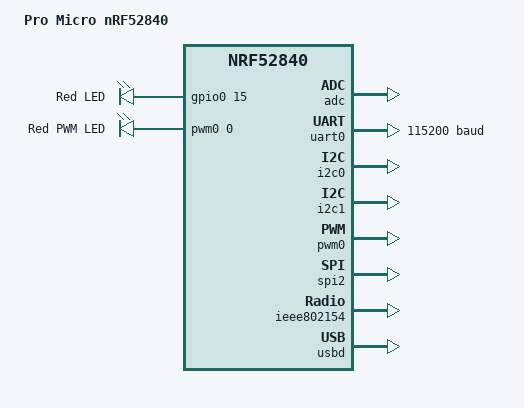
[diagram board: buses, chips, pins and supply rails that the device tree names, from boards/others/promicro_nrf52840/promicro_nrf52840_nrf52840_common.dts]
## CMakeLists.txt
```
cmake_minimum_required(VERSION 3.20.0)

# The USB devicetree nodes (serial port + five HID interfaces) are the same on every board, so they
# live in one overlay that is added whatever the board.
list(APPEND EXTRA_DTC_OVERLAY_FILE ${CMAKE_CURRENT_LIST_DIR}/usb.overlay)

find_package(Zephyr REQUIRED HINTS $ENV{ZEPHYR_BASE})
project(counterpuck LANGUAGES C)

target_include_directories(app PRIVATE src)
target_sources(app PRIVATE
	src/main.c
	src/identity.c
	src/usb.c
	src/hid_desc.c
	src/commands.c
	src/radio.c
	src/slot.c
	src/channels.c
	src/combiner.c
	src/bonds.c
	src/shell.c)
```

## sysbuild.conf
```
# The Partition Manager (the NCS default for nRF chips) would ignore the board's flash partitions:
# the app would not land at the UF2 bootloader's app address and the settings storage would end up
# inside the bootloader. Use the devicetree partitions.
SB_CONFIG_PARTITION_MANAGER=n
```

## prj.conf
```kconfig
# Counterpuck: an open firmware that behaves like a Steam Controller 2 puck on an nRF52840 board.
# Settings you may want to change (serials, USB strings, build time) are in src/puck_config.h.

# --- kernel ---
CONFIG_MAIN_STACK_SIZE=4096
CONFIG_HEAP_MEM_POOL_SIZE=2048
CONFIG_SYSTEM_WORKQUEUE_STACK_SIZE=2048
CONFIG_EVENTS=y
CONFIG_HWINFO=y
CONFIG_REBOOT=y
CONFIG_ENTROPY_GENERATOR=y
CONFIG_GPIO=y

# The board has no 32.768 kHz crystal: use the internal RC oscillator, calibrated against the
# on-chip temperature sensor.
CONFIG_CLOCK_CONTROL_NRF_K32SRC_RC=y
CONFIG_CLOCK_CONTROL_NRF_K32SRC_RC_CALIBRATION=y

# --- USB: Zephyr's own device stack, one serial port + five HID interfaces ---
CONFIG_USB_DEVICE_STACK_NEXT=y
CONFIG_USBD_HID_SUPPORT=y
# Up to 8 input reports per interface can be on their way to the host at once.
CONFIG_USBD_HID_IN_BUF_COUNT=8
CONFIG_USBD_CDC_ACM_CLASS=y
# The serial port carries the shell, so the USB stack must not log every transfer into it.
CONFIG_USBD_LOG_LEVEL_WRN=y
CONFIG_UDC_DRIVER_LOG_LEVEL_WRN=y
CONFIG_USBD_HID_LOG_LEVEL_WRN=y
CONFIG_USBD_CDC_ACM_LOG_LEVEL_OFF=y
CONFIG_UDC_BUF_POOL_SIZE=4096
# Vendor commands that store a pairing run in the USB thread, together with the flash driver.
CONFIG_USBD_THREAD_STACK_SIZE=2048

# --- shell and logging on the USB serial port ---
CONFIG_LOG=y
CONFIG_LOG_MODE_DEFERRED=y
CONFIG_LOG_BUFFER_SIZE=4096
CONFIG_SHELL=y
CONFIG_SHELL_BACKEND_SERIAL=y
CONFIG_SHELL_LOG_BACKEND=y
CONFIG_SHELL_PROMPT_UART="dongle~$ "
CONFIG_SHELL_STACK_SIZE=2048
CONFIG_SERIAL=y
CONFIG_UART_INTERRUPT_DRIVEN=y

# --- radio: Nordic's Enhanced ShockBurst ---
CONFIG_ESB=y
CONFIG_ESB_MAX_PAYLOAD_LENGTH=128
CONFIG_ESB_TX_FIFO_SIZE=2
CONFIG_ESB_RX_FIFO_SIZE=2

# --- pairing records in flash ---
CONFIG_FLASH=y
CONFIG_FLASH_MAP=y
CONFIG_NVS=y
CONFIG_SETTINGS=y
CONFIG_SETTINGS_NVS=y
```

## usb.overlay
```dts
/* The USB device: one serial port (the shell) followed by five HID interfaces. Windows and Steam
 * find the puck's interfaces by this order, so keep it: the class instances are registered sorted by
 * name, which follows the order of these nodes. Slots 0 to 3 are hid_0 to hid_3, the dock is hid_4.
 * Each HID interface has an interrupt IN and an interrupt OUT endpoint of 64 bytes. The slots poll
 * every 2 ms, the dock every 32 ms. */
/ {
	chosen {
		zephyr,shell-uart = &cdc_acm_uart0;
	};

	hid_0: hid_0 {
		compatible = "zephyr,hid-device";
		protocol-code = "none";
		in-polling-period-us = <2000>;
		in-report-size = <64>;
		out-polling-period-us = <2000>;
		out-report-size = <64>;
	};
	hid_1: hid_1 {
		compatible = "zephyr,hid-device";
		protocol-code = "none";
		in-polling-period-us = <2000>;
		in-report-size = <64>;
		out-polling-period-us = <2000>;
		out-report-size = <64>;
	};
	hid_2: hid_2 {
		compatible = "zephyr,hid-device";
		protocol-code = "none";
		in-polling-period-us = <2000>;
		in-report-size = <64>;
		out-polling-period-us = <2000>;
		out-report-size = <64>;
	};
	hid_3: hid_3 {
		compatible = "zephyr,hid-device";
		protocol-code = "none";
		in-polling-period-us = <2000>;
		in-report-size = <64>;
		out-polling-period-us = <2000>;
		out-report-size = <64>;
	};
	hid_4: hid_4 {
		compatible = "zephyr,hid-device";
		protocol-code = "none";
		in-polling-period-us = <32000>;
		in-report-size = <64>;
		out-polling-period-us = <32000>;
		out-report-size = <64>;
	};
};

&zephyr_udc0 {
	cdc_acm_uart0: cdc_acm_uart0 {
		compatible = "zephyr,cdc-acm-uart";
	};
};
```

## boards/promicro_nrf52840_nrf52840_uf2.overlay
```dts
/* SuperMini / Pro Micro nRF52840 with the Adafruit UF2 bootloader. Settings (pairings) go to the
 * board's storage partition, just below the bootloader. The board's own UART is not used here: the
 * shell is on the USB serial port. */
&uart0 {
	status = "disabled";
};
```

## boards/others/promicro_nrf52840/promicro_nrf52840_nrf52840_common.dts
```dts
/*
 * Copyright (c) 2024 MASSDRIVER EI (massdriver.space)
 * Copyright (c) 2018-2023 Nordic Semiconductor ASA
 * Copyright (c) 2017 Linaro Limited
 *
 * SPDX-License-Identifier: Apache-2.0
 */

/dts-v1/;
#include <nordic/nrf52840_qiaa.dtsi>
#include "promicro_nrf52840-pinctrl.dtsi"
#include <zephyr/dt-bindings/input/input-event-codes.h>

/ {
	model = "Pro Micro nRF52840";
	compatible = "others,promicro-nrf52840";

	chosen {
		zephyr,sram = &sram0;
		zephyr,flash = &flash0;
		zephyr,ieee802154 = &ieee802154;
	};

	leds {
		compatible = "gpio-leds";
		led0: led_0 {
			gpios = <&gpio0 15 GPIO_ACTIVE_HIGH>;
			label = "Red LED";
		};
	};

	pwmleds {
		compatible = "pwm-leds";
		red_pwm_led: led_pwm_0 {
			pwms = <&pwm0 0 PWM_MSEC(20) PWM_POLARITY_INVERTED>;
			label = "Red PWM LED";
		};
	};

	aliases {
		led0 = &led0;
		pwm-led0 = &red_pwm_led;
		red-pwm-led = &red_pwm_led;
		bootloader-led0 = &led0;
		mcuboot-led0 = &led0;
		spi = &spi2;
		watchdog0 = &wdt0;
	};
};

&adc {
	status = "okay";
};

&gpiote {
	status = "okay";
};

&uicr {
	nfct-pins-as-gpios;
	gpio-as-nreset;
};

&gpio0 {
	status = "okay";
};

&gpio1 {
	status = "okay";
};

&uart0 {
	compatible = "nordic,nrf-uarte";
	status = "okay";
	current-speed = <115200>;
	pinctrl-0 = <&uart0_default>;
	pinctrl-1 = <&uart0_sleep>;
	pinctrl-names = "default", "sleep";
};

&i2c0 {
	compatible = "nordic,nrf-twi";
	status = "okay";
	pinctrl-0 = <&i2c0_default>;
	pinctrl-1 = <&i2c0_sleep>;
	pinctrl-names = "default", "sleep";
};

&i2c1 {
	compatible = "nordic,nrf-twi";
	status = "okay";
	pinctrl-0 = <&i2c1_default>;
	pinctrl-1 = <&i2c1_sleep>;
	pinctrl-names = "default", "sleep";
};

&pwm0 {
	status = "okay";
	pinctrl-0 = <&pwm0_default>;
	pinctrl-1 = <&pwm0_sleep>;
	pinctrl-names = "default", "sleep";
};


&spi2 {
	compatible = "nordic,nrf-spi";
	status = "okay";
	pinctrl-0 = <&spi2_default>;
	pinctrl-1 = <&spi2_sleep>;
	pinctrl-names = "default", "sleep";
};

&ieee802154 {
	status = "okay";
};

zephyr_udc0: &usbd {
	status = "okay";
};
```

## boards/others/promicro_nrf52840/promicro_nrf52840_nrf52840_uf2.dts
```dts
/*
 * Copyright (c) 2024 MASSDRIVER EI (massdriver.space)
 *
 * SPDX-License-Identifier: Apache-2.0
 */

/dts-v1/;
#include "promicro_nrf52840_nrf52840_common.dts"
#include "nrf52840_partition_uf2_sdv6.dtsi"
```

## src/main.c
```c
/* main.c: start-up order. MIT licence. */
#include <zephyr/kernel.h>
#include <zephyr/logging/log.h>
#include <zephyr/settings/settings.h>
#include "bonds.h"
#include "channels.h"
#include "identity.h"
#include "radio.h"
#include "slot.h"
#include "usb.h"

LOG_MODULE_REGISTER(main, LOG_LEVEL_INF);

int main(void)
{
	int err;

	identity_init();
	err = settings_subsys_init();
	if (err) {
		LOG_ERR("The settings store failed to start (%d): pairings will not be kept", err);
	} else {
		bonds_load();
	}

	/* The slots must exist before the USB device is enabled: the host's first requests already
	 * reach them. */
	slots_init();
	channels_init();
	err = usb_start();
	if (err) {
		return err;
	}
	LOG_INF("USB started");
	err = radio_start();
	if (err) {
		return err;
	}
	LOG_INF("Radio started");
	channels_start_scan();

	LOG_INF("Starting Counterpuck %s, build time 0x%08X", identity_revision(),
		identity_build_time());
	slots_start();
	return 0;
}
```

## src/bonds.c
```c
/* bonds.c: pairing records in the settings store, keys "puck/bond0" to "puck/bond3". MIT licence. */
#include <errno.h>
#include <stdio.h>
#include <string.h>
#include <zephyr/kernel.h>
#include <zephyr/settings/settings.h>
#include "bonds.h"
#include "radio.h"
#include <zephyr/logging/log.h>
#include "usb.h"

LOG_MODULE_REGISTER(bonds, LOG_LEVEL_INF);

static struct bond records[NUM_SLOTS];

bool bond_valid(const struct bond *b)
{
	return b->puck_id != 0 && b->controller_id != 0;
}

const struct bond *bond_get(int slot) { return &records[slot]; }

static int on_setting(const char *key, size_t len, settings_read_cb read_cb, void *cb_arg)
{
	const char *next;

	for (int i = 0; i < NUM_SLOTS; i++) {
		char name[8];

		snprintf(name, sizeof(name), "bond%d", i);
		if (settings_name_steq(key, name, &next) && !next) {
			if (len != sizeof(struct bond)) {
				return -EINVAL;
			}
			ssize_t n = read_cb(cb_arg, &records[i], sizeof(struct bond));

			return n < 0 ? (int)n : 0;
		}
	}
	return -ENOENT;
}
SETTINGS_STATIC_HANDLER_DEFINE(puck_bonds, "puck", NULL, on_setting, NULL, NULL);

int bonds_load(void)
{
	return settings_load_subtree("puck");
}

int bond_set(int slot, const struct bond *b)
{
	char key[16];
	int err;

	snprintf(key, sizeof(key), "puck/bond%d", slot);
	/* The record in memory is what counts for this session; the flash copy keeps it across reboots. */
	radio_hold();   /* a flash write stalls the CPU: no radio transaction may be in flight */
	if (!bond_valid(b)) {
		memset(&records[slot], 0, sizeof(records[slot]));
		err = settings_delete(key);
	} else {
		records[slot] = *b;
		err = settings_save_one(key, b, sizeof(*b));
	}
	radio_release();
	if (err) {
		LOG_ERR("Storing the pairing of slot %d failed (%d): it is lost when the puck restarts",
			slot, err);
	}
	return err;
}

int bonds_clear_all(void)
{
	struct bond none = { 0 };
	int err = 0;

	for (int i = 0; i < NUM_SLOTS; i++) {
		err |= bond_set(i, &none);
	}
	return err;
}
```

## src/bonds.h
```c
/* bonds.h: the pairing record of each slot, kept in flash. MIT licence. */
#pragma once
#include <stdbool.h>
#include <stdint.h>

/* 24 bytes; also the format vendor commands 0xA3 and 0xA2 read and write. */
struct bond {
	uint32_t puck_id;       /* random, chosen when pairing */
	uint32_t controller_id;
	char controller_serial[16];
} __packed;

/* A pairing exists when both IDs are non-zero. */
bool bond_valid(const struct bond *b);

/* Read the records from flash into memory. */
int bonds_load(void);
const struct bond *bond_get(int slot);
/* Store a record, or delete it when either ID is zero. */
int bond_set(int slot, const struct bond *b);
int bonds_clear_all(void);
```

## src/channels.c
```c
/* channels.c: channel choice from per-channel error rates and a background noise scan. MIT licence. */
#include <stdlib.h>
#include <string.h>
#include <zephyr/kernel.h>
#include "channels.h"
#include "radio.h"
#include "usb.h"

#define FIRST_CHANNEL 4
#define LAST_CHANNEL  80
#define N_CHANNELS    (LAST_CHANNEL + 1)

#define WEIGHT_ERROR_RATE 1000
#define WEIGHT_DISTANCE   1000
#define WEIGHT_NOISE      500

#define SCAN_PERIOD_MS    128
#define SCAN_SAMPLES      10

struct chan {
	int ok, bad;
	int rate_permille;   /* bad / (ok + bad), 0..1000 */
};

static struct chan map[NUM_SLOTS][N_CHANNELS];

/* Background noise per channel, in 16.16 fixed point, as positive dB below 0 dBm (bigger = quieter):
 * a slow average, and a peak that jumps to a louder reading at once and drifts back slowly. */
static struct { uint32_t average, peak; } noise[N_CHANNELS];
static uint8_t quietest;     /* the quietest average seen over all channels */
static bool noise_known;
static K_MUTEX_DEFINE(map_lock);

static void recompute(struct chan *c)
{
	c->rate_permille = (c->ok + c->bad) ? (int)((int64_t)c->bad * 1000 / (c->ok + c->bad)) : 1000;
}

void channels_set(int slot, uint8_t channel, int ok, int bad)
{
	if (channel >= N_CHANNELS) {
		return;
	}
	k_mutex_lock(&map_lock, K_FOREVER);
	map[slot][channel].ok = ok;
	map[slot][channel].bad = bad;
	recompute(&map[slot][channel]);
	k_mutex_unlock(&map_lock);
}

void channels_add(int slot, uint8_t channel, int ok, int bad)
{
	if (channel >= N_CHANNELS) {
		return;
	}
	k_mutex_lock(&map_lock, K_FOREVER);
	map[slot][channel].ok += ok;
	map[slot][channel].bad += bad;
	recompute(&map[slot][channel]);
	k_mutex_unlock(&map_lock);
}

/* Penalty for a channel that is `d` dB noisier than the quietest. A curve that starts gently and
 * steepens to a straight line, measured against the reference behaviour at every tenth dB and
 * joined by straight lines: 0 at 0 dB, 31 at 10, 89 at 20, 164 at 30, 252 at 40, 353 at 50,
 * 464 at 60, 585 at 70, 715 at 80, 853 at 90, 1000 at 100 and 1137 at 109. */
static int noise_penalty(int d)
{
	static const int at_tens[] = { 0, 31, 89, 164, 252, 353, 464, 585, 715, 853, 1000 };

	d = CLAMP(d, 0, 109);
	if (d >= 100) {
		return 1000 + (d - 100) * 137 / 9;
	}
	return at_tens[d / 10] + (at_tens[d / 10 + 1] - at_tens[d / 10]) * (d % 10) / 10;
}

uint8_t channels_pick(int slot, uint8_t current)
{
	uint8_t best = FIRST_CHANNEL;
	uint32_t best_score = UINT32_MAX;

	k_mutex_lock(&map_lock, K_FOREVER);
	for (int ch = FIRST_CHANNEL; ch <= LAST_CHANNEL; ch += 2) {
		uint32_t score;
		int distance = abs(ch - current);

		if (ch == LAST_CHANNEL || ch == current) {
			continue;
		}
		score = WEIGHT_ERROR_RATE * MIN(map[slot][ch].rate_permille / 10, 100);
		score += WEIGHT_NOISE * noise_penalty(MAX((int)quietest - (int)(noise[ch].average >> 16), 0));
		if (distance <= 16) {
			score += WEIGHT_DISTANCE * (17 - distance);
		}
		if (score <= best_score) {   /* ties go to the higher channel */
			best_score = score;
			best = ch;
		}
	}
	k_mutex_unlock(&map_lock);
	return best;
}

uint8_t channels_error_percent(int slot, uint8_t channel)
{
	if (channel >= N_CHANNELS) {
		return 0xFF;
	}
	return MIN(map[slot][channel].rate_permille / 10, 100);
}

uint8_t channels_noise(uint8_t channel) { return channel < N_CHANNELS ? (noise[channel].average >> 16) & 0xFF : 0; }
uint8_t channels_noise_peak(uint8_t channel) { return channel < N_CHANNELS ? (noise[channel].peak >> 16) & 0xFF : 0; }

/* A bad experience on a channel is slowly forgiven: every minute all error rates shrink by 10 %. */
static void decay(struct k_timer *t)
{
	for (int s = 0; s < NUM_SLOTS; s++) {
		for (int ch = FIRST_CHANNEL; ch <= LAST_CHANNEL; ch += 2) {
			/* the stored rate shrinks; the counters are left alone, and the next update of this
			 * channel works the rate out from them again */
			map[s][ch].rate_permille = map[s][ch].rate_permille * 9 / 10;
		}
	}
}
static K_TIMER_DEFINE(decay_timer, decay, NULL);

/* One sweep: the strongest of ten readings on every channel, folded into the averages. */
static void scan_once(void)
{
	uint8_t samples[SCAN_SAMPLES];
	uint32_t best = 0;

	for (int ch = FIRST_CHANNEL; ch <= LAST_CHANNEL; ch += 2) {
		uint32_t strongest = 0xFF;

		radio_sample_rssi(ch, samples, SCAN_SAMPLES);
		for (int i = 0; i < SCAN_SAMPLES; i++) {
			strongest = MIN(strongest, samples[i]);   /* smaller = louder */
		}
		uint32_t v = strongest << 16;

		if (!noise_known) {
			noise[ch].average = noise[ch].peak = v;
		} else {
			noise[ch].average = (noise[ch].average * 63 + v) >> 6;
			noise[ch].peak = (noise[ch].peak <= v) ? (noise[ch].peak * 63 + v) >> 6 : v;
		}
		best = MAX(best, noise[ch].average);
	}
	quietest = best >> 16;
	noise_known = true;
}

static void scan_thread(void *a, void *b, void *c)
{
	for (;;) {
		scan_once();
		k_msleep(SCAN_PERIOD_MS);
	}
}
K_THREAD_DEFINE(noise_scan, 1536, scan_thread, NULL, NULL, NULL, 10, 0, -1);

void channels_init(void)
{
	memset(map, 0, sizeof(map));
	k_timer_start(&decay_timer, K_SECONDS(60), K_SECONDS(60));
}

/* Called once the radio runs: one sweep first so the first channel choice already knows the noise,
 * then the scan keeps going. */
void channels_start_scan(void)
{
	scan_once();
	k_thread_start(noise_scan);
}
```

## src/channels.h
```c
/* channels.h: how the puck chooses radio channels. MIT licence.
 *
 * Data channels are the even channels 4 to 78 (channel n is 2400 + n MHz). Each slot keeps, per
 * channel, how many of its exchanges succeeded and failed. The lowest score wins:
 *   - the packet error rate on the channel, weighted 1000 per percent;
 *   - a penalty for channels close to the current one (so a switch moves away from interference),
 *     1000 x (17 - distance) for distances up to 16, none beyond;
 *   - how much noisier the channel is than the quietest one, from a background scan that visits
 *     every channel eight times a second, weighted 500;
 * the current channel and channel 80 are never chosen. Ties go to the higher channel. */
#pragma once
#include <stdint.h>

void channels_init(void);
void channels_start_scan(void);   /* after radio_start() */
/* Replace / add to a channel's counters of one slot. */
void channels_set(int slot, uint8_t channel, int ok, int bad);
void channels_add(int slot, uint8_t channel, int ok, int bad);
/* `current` is the channel in use, or 0xFF when there is none. */
uint8_t channels_pick(int slot, uint8_t current);
/* Statistics for the vendor command that lists them. */
uint8_t channels_error_percent(int slot, uint8_t channel);
uint8_t channels_noise(uint8_t channel);
uint8_t channels_noise_peak(uint8_t channel);
```

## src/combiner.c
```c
/* combiner.c: half-reports 0x60 / 0x61 -> report 0x45. MIT licence. */
#include <string.h>
#include <zephyr/kernel.h>
#include "combiner.h"
#include "hid_desc.h"
#include "slot.h"
#include "usb.h"

struct __packed half {
	uint8_t id;
	uint16_t buttons;
	uint8_t axis;
	int16_t v[8];
};

struct __packed report45 {
	uint8_t id;
	uint8_t seq;
	uint32_t buttons;
	int16_t axis_a;          /* from 0x60 */
	int16_t axis_b;          /* from 0x61 */
	int16_t a01[2];          /* 0x60 v[0..1] */
	int16_t b01[2];          /* 0x61 v[0..1] */
	int16_t unused[8];       /* never written */
	int16_t a27[6];          /* 0x60 v[2..7] */
};
BUILD_ASSERT(sizeof(struct half) == 20);
BUILD_ASSERT(sizeof(struct report45) == 46);

/* Which bit of the 32-bit button field each of a half's 12 button bits sets (docs/wire-formats.md). */
static const uint8_t map_60[12] = { 10, 11, 12, 13, 17, 19, 15, 27, 16, 14, 24, 29 };
static const uint8_t map_61[12] = { 0, 1, 2, 3, 7, 9, 5, 23, 4, 6, 20, 28 };

static struct report45 merged;          /* the one combined state */
static int64_t last_half_ms;
static bool serving[NUM_SLOTS];         /* this slot's controller sends half-reports */
static K_MUTEX_DEFINE(lock);

/* The lowest-numbered connected slot that sends half-reports, or -1. */
static int target(void)
{
	for (int i = 0; i < NUM_SLOTS; i++) {
		if (serving[i] && slot_connected(i)) {
			return i;
		}
	}
	return -1;
}

/* A byte widened to 15 bits: 0x00 -> 0, 0x80 -> 0x407F, 0xFF -> 0x7FFF. */
static int16_t widen(uint8_t v)
{
	return (int16_t)((v << 7) | ((v & 0x80) ? 0x7F : 0));
}

static uint32_t apply_buttons(uint32_t field, uint16_t src, const uint8_t *map)
{
	for (int i = 0; i < 12; i++) {
		field = (src & BIT(i)) ? (field | BIT(map[i])) : (field & ~BIT(map[i]));
	}
	return field;
}

/* Send the merged state to `slot` (caller holds the lock). */
static void send(int slot)
{
	uint8_t out[sizeof(struct report45)] __aligned(4);

	merged.seq++;
	memcpy(out, &merged, sizeof(out));
	(void)usb_submit_input(slot, out, sizeof(out));
}

static void make_neutral(void)
{
	/* everything but the ID and the sequence number cleared */
	uint8_t seq = merged.seq;

	memset(&merged, 0, sizeof(merged));
	merged.seq = seq;
	merged.id = RPT_COMBINED;
}

void combiner_half(int slot, const uint8_t *rec)
{
	struct half h;
	int to;

	memcpy(&h, rec, sizeof(h));
	k_mutex_lock(&lock, K_FOREVER);
	merged.id = RPT_COMBINED;
	if (h.id == 0x60) {
		merged.axis_a = widen(h.axis);
		memcpy(merged.a01, &h.v[0], 4);
		memcpy(merged.a27, &h.v[2], 12);
		merged.buttons = apply_buttons(merged.buttons, h.buttons, map_60);
	} else if (h.id == 0x61) {
		merged.axis_b = widen(h.axis);
		memcpy(merged.b01, &h.v[0], 4);
		merged.buttons = apply_buttons(merged.buttons, h.buttons, map_61);
	} else {
		k_mutex_unlock(&lock);
		return;
	}
	serving[slot] = true;
	last_half_ms = k_uptime_get();
	to = target();
	if (to >= 0) {
		send(to);
	}
	k_mutex_unlock(&lock);
}

void combiner_tick(int slot)
{
	int to;

	k_mutex_lock(&lock, K_FOREVER);
	/* Only the served slot's thread acts, so one second of silence gives one neutral report. */
	if (serving[slot] && target() == slot && k_uptime_get() - last_half_ms >= 1000) {
		make_neutral();
		last_half_ms = k_uptime_get();
		to = target();
		if (to >= 0) {
			send(to);
		}
	}
	k_mutex_unlock(&lock);
}

void combiner_release(int slot)
{
	k_mutex_lock(&lock, K_FOREVER);
	if (serving[slot]) {
		serving[slot] = false;
		/* The controller is gone: let go of everything it held, on its own interface. */
		make_neutral();
		send(slot);
		if (target() < 0) {
			memset(&merged, 0, sizeof(merged));   /* nobody left: start from nothing next time */
		}
	}
	k_mutex_unlock(&lock);
}
```

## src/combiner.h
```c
/* combiner.h: merges the controller's two half-reports (0x60, 0x61) into report 0x45.
 * The formats are in docs/wire-formats.md. MIT licence. */
#pragma once
#include <stdbool.h>
#include <stdint.h>

/* There is one combined state for the whole puck. Reports go to the lowest-numbered connected slot
 * whose controller sends half-reports. */

/* A half-report arrived on a slot (rec[0] is 0x60 or 0x61, 20 bytes): update and send 0x45. */
void combiner_half(int slot, const uint8_t *rec);
/* Call regularly: after a second without a half-report a neutral 0x45 is sent. */
void combiner_tick(int slot);
/* The slot's controller is gone (link lost, or a new connection starts). If it was being served, a
 * neutral 0x45 goes out first so the PC is not left holding its last buttons and sticks. */
void combiner_release(int slot);
```

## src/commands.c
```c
/* commands.c: the vendor commands Steam sends to the puck. MIT licence. */
#include <errno.h>
#include <string.h>
#include <zephyr/kernel.h>
#include <zephyr/logging/log.h>
#include <zephyr/sys/reboot.h>
#include <hal/nrf_power.h>
#include "commands.h"
#include "bonds.h"
#include "channels.h"
#include "hid_desc.h"
#include "identity.h"
#include "slot.h"
#include "usb.h"
#include "puck_config.h"

LOG_MODULE_REGISTER(commands, LOG_LEVEL_INF);

#define BOOTLOADER_MAGIC_REBOOT  0xECAABAC0u   /* payload of 0x95 that means "bootloader" */
#define FACTORY_RESET_MAGIC      0xEFC1A917u   /* payload of 0x86 that confirms it */

/* The last command set on each interface, so that the read that follows knows what to answer. */
static uint8_t last_cmd[NUM_IFACES][FEATURE_BODY_LEN + 1];

typedef int (*set_fn)(int iface, const uint8_t *payload, uint8_t len);
typedef int (*get_fn)(int iface, uint8_t *data, uint8_t *len);   /* data = request payload in, answer out */

struct command {
	uint8_t opcode;
	set_fn set;
	get_fn get;
};

/* ---- reboots ------------------------------------------------------------------------------ */

static void do_bootloader(struct k_work *w)
{
	/* The Adafruit UF2 bootloader enters its drive mode when this magic is left in GPREGRET. */
	nrf_power_gpregret_set(NRF_POWER, 0, 0x57);
	sys_reboot(SYS_REBOOT_COLD);
}
static void do_reboot(struct k_work *w) { sys_reboot(SYS_REBOOT_COLD); }
static K_WORK_DELAYABLE_DEFINE(bootloader_work, do_bootloader);
static K_WORK_DELAYABLE_DEFINE(reboot_work, do_reboot);

/* 20 ms later, so the USB request that asked for it can finish first. */
void reboot_to_bootloader(void) { k_work_schedule(&bootloader_work, K_MSEC(20)); }
void reboot_normally(void) { k_work_schedule(&reboot_work, K_MSEC(20)); }

static void do_factory_reset(struct k_work *w)
{
	bonds_clear_all();
	k_msleep(100);
	sys_reboot(SYS_REBOOT_COLD);
}
static K_WORK_DELAYABLE_DEFINE(factory_work, do_factory_reset);

/* ---- answers ------------------------------------------------------------------------------ */

static int get_attributes(int iface, uint8_t *data, uint8_t *len)
{
	const struct { uint8_t tag; uint32_t value; } __packed attr[5] = {
		{ 1, PUCK_USB_PID },
		{ 2, 0 },                                 /* capabilities */
		{ 10, 0 },                                /* bootloader build time: not known here */
		{ 4, identity_build_time() },
		{ 9, identity_board_revision() },
	};

	memcpy(data, attr, sizeof(attr));
	*len = sizeof(attr);
	return 0;
}

static int get_string(int iface, uint8_t *data, uint8_t *len)
{
	const char *text;
	uint8_t tag = data[0];

	switch (tag) {
	case 0: case 4: text = identity_board_serial(); break;
	case 1:         text = identity_serial(); break;
	case 3:         text = identity_revision(); break;
	default:        text = "NA"; break;
	}
	memset(data + 1, 0, 19);
	strncpy((char *)data + 1, text, 19);   /* the tag, then the text, 20 bytes in all */
	*len = 20;
	return 0;
}

static int get_wireless_state(int iface, uint8_t *data, uint8_t *len)
{
	data[0] = (iface < NUM_SLOTS && slot_connected(iface)) ? 2 : 1;
	*len = 1;
	return 0;
}

static int get_device_info(int iface, uint8_t *data, uint8_t *len)
{
	uint8_t selector = data[0];
	uint32_t word;

	*len = 0;
	if (selector == 0) {
		memset(data + 1, 0, 40);
		word = identity_build_time();
		memcpy(data + 1, &word, 4);
		word = identity_board_revision();
		memcpy(data + 5, &word, 4);
		strncpy((char *)data + 9, identity_revision(), 16);
		strncpy((char *)data + 25, identity_serial(), 16);
		*len = 41;
	} else if (selector == 1) {
		memset(data + 1, 0, 33);               /* no crash has ever been recorded */
		*len = 34;
	}
	return 0;
}

static int get_channel_stats(int iface, uint8_t *data, uint8_t *len)
{
	uint8_t mode = data[0];

	for (int i = 0, ch = 0; ch < 80; ch += 2, i++) {
		uint8_t v;

		switch (mode) {
		case 0:  v = ch; break;
		case 1:  v = iface < NUM_SLOTS ? channels_error_percent(iface, ch) : 0xFF; break;
		case 2:  v = channels_noise(ch); break;
		case 3:  v = channels_noise_peak(ch); break;
		default: v = 0xFF; break;
		}
		data[1 + i] = v;
	}
	*len = 41;
	return 0;
}

static int get_bond(int iface, uint8_t *data, uint8_t *len)
{
	if (iface < NUM_SLOTS) {
		memcpy(data, bond_get(iface), sizeof(struct bond));
		*len = sizeof(struct bond);
	} else {
		*len = 0;                              /* the dock has no pairing */
	}
	return 0;
}

/* ---- actions ------------------------------------------------------------------------------ */

static int set_bond(int iface, const uint8_t *payload, uint8_t len)
{
	struct bond b;

	if (iface >= NUM_SLOTS) {
		return 0;
	}
	if (len != sizeof(b)) {
		return -EINVAL;
	}
	memcpy(&b, payload, sizeof(b));
	slot_set_bond(iface, &b);
	return 0;
}

static int set_pairing(int iface, const uint8_t *payload, uint8_t len)
{
	if (iface >= NUM_SLOTS) {
		return 0;
	}
	if (payload[0] == 0) {
		slot_cancel_pairing(iface);
	} else {
		slot_start_pairing(iface, payload[1] ? payload[1] : PUCK_PAIRING_SECONDS);
	}
	return 0;
}

static int set_dock_input(int iface, const uint8_t *payload, uint8_t len)
{
	return -ENOTSUP;   /* no dock on this board */
}

static int set_factory_reset(int iface, const uint8_t *payload, uint8_t len)
{
	uint32_t magic = 0;

	memcpy(&magic, payload, MIN(len, 4));
	if (magic == FACTORY_RESET_MAGIC) {
		LOG_INF("Factory reset");
		k_work_schedule(&factory_work, K_MSEC(10));
	} else {
		LOG_INF("Ignoring factory reset without the confirmation code");
	}
	return 0;
}

static int bootloader_request(void)
{
#if PUCK_STEAM_MAY_REBOOT_TO_BOOTLOADER
	reboot_to_bootloader();
	return 0;
#else
	LOG_WRN("Ignoring a request to reboot into the bootloader (PUCK_STEAM_MAY_REBOOT_TO_BOOTLOADER is 0)");
	return -ENOTSUP;
#endif
}

static int set_reboot(int iface, const uint8_t *payload, uint8_t len)
{
	uint32_t magic = 0;

	memcpy(&magic, payload, MIN(len, 4));
	if (magic == BOOTLOADER_MAGIC_REBOOT) {
		return bootloader_request();
	} else {
		reboot_normally();
	}
	return 0;
}

static int set_reboot_to_bootloader(int iface, const uint8_t *payload, uint8_t len)
{
	return bootloader_request();
}

static const struct command table[] = {
	{ 0xB4, NULL,                       get_wireless_state },
	{ 0x83, NULL,                       get_attributes },
	{ 0xAE, NULL,                       get_string },
	{ 0xF2, NULL,                       get_device_info },
	{ 0xF1, set_dock_input,             NULL },
	{ 0xAD, set_pairing,                NULL },
	{ 0xF3, NULL,                       get_channel_stats },
	{ 0xA3, NULL,                       get_bond },
	{ 0x86, set_factory_reset,          NULL },
	{ 0x95, set_reboot,                 NULL },
	{ 0x90, set_reboot_to_bootloader,   NULL },
	{ 0xA2, set_bond,                   NULL },
};

static const struct command *find(uint8_t opcode)
{
	for (size_t i = 0; i < ARRAY_SIZE(table); i++) {
		if (table[i].opcode == opcode) {
			return &table[i];
		}
	}
	return NULL;
}

int commands_set(int iface, const uint8_t *body)
{
	unsigned int total = (unsigned int)body[1] + 2;   /* opcode, length, payload */
	const struct command *c = find(body[0]);

	if (!c || total > FEATURE_BODY_LEN) {
		return -EINVAL;
	}
	if (c->set) {
		int err = c->set(iface, body + 2, body[1]);

		if (err) {
			return err;
		}
	}
	memset(last_cmd[iface], 0, sizeof(last_cmd[iface]));
	memcpy(last_cmd[iface], body, total);
	return 0;
}

int commands_get(int iface, uint8_t *body)
{
	const uint8_t *last = last_cmd[iface];
	const struct command *c = find(last[0]);
	int err;

	if (!c) {
		return -EINVAL;
	}
	if (!c->get) {
		return -EOPNOTSUPP;
	}
	memset(body, 0, FEATURE_BODY_LEN);
	memcpy(body, last, last[1] + 2);          /* the request, so the handler can read its payload */
	err = c->get(iface, body + 2, &body[1]);
	return err < 0 ? err : 0;
}
```

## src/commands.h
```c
/* commands.h: the vendor command channel (feature report 2). MIT licence.
 * A command is `opcode, length, payload` in the 63 bytes after the report ID. Steam sends one with
 * SET_REPORT and reads its answer with GET_REPORT. */
#pragma once
#include <stdint.h>

/* `iface` is the USB interface: 0 to 3 for the slots, 4 for the dock. `body` is 63 bytes. */
int commands_set(int iface, const uint8_t *body);
int commands_get(int iface, uint8_t *body);

/* Reboot into the UF2 bootloader (what Steam's updater asks for) or plain reboot, after 20 ms. */
void reboot_to_bootloader(void);
void reboot_normally(void);
```

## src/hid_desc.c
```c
/* hid_desc.c: the HID report descriptors. MIT licence.
 * Written from what a host sees on a puck (see docs/wire-formats.md): the layout of every report
 * ID, its direction and size. */
#include "hid_desc.h"

/* Vendor-page report: input/output/feature, ID, usage = ID, `n` bytes of 0..255. */
#define VENDOR_IN(id, n)   0x85, id, 0x09, id, 0x15, 0x00, 0x26, 0xFF, 0x00, 0x75, 0x08, 0x95, n, 0x81, 0x02
#define VENDOR_OUT(id, n)  0x85, id, 0x09, id, 0x15, 0x00, 0x26, 0xFF, 0x00, 0x75, 0x08, 0x95, n, 0x91, 0x02
#define VENDOR_FEAT(id, u) 0x85, id, 0x09, u,  0x15, 0x00, 0x26, 0xFF, 0x00, 0x75, 0x08, 0x95, 0x3F, 0xB1, 0x02

#define MOUSE_COLLECTION							\
	0x05, 0x01, 0x09, 0x02, 0xA1, 0x01, 0x85, RPT_MOUSE,			\
	0x09, 0x01, 0xA1, 0x00,							\
	0x05, 0x09, 0x19, 0x01, 0x29, 0x02, 0x15, 0x00, 0x25, 0x01,		\
	0x75, 0x01, 0x95, 0x02, 0x81, 0x02, 0x75, 0x06, 0x95, 0x01, 0x81, 0x03,	\
	0x05, 0x01, 0x09, 0x30, 0x09, 0x31, 0x09, 0x38,				\
	0x15, 0x81, 0x25, 0x7F, 0x75, 0x08, 0x95, 0x03, 0x81, 0x06,		\
	0x05, 0x0C, 0x0A, 0x38, 0x02, 0x15, 0x81, 0x25, 0x7F, 0x75, 0x08,	\
	0x95, 0x01, 0x81, 0x06,							\
	0xC0, 0xC0

#define KEYBOARD_COLLECTION							\
	0x05, 0x01, 0x09, 0x06, 0xA1, 0x01, 0x85, RPT_KEYBOARD,			\
	0x05, 0x07, 0x19, 0xE0, 0x29, 0xE7, 0x15, 0x00, 0x25, 0x01,		\
	0x75, 0x01, 0x95, 0x08, 0x81, 0x02,					\
	0x75, 0x08, 0x95, 0x01, 0x81, 0x03,					\
	0x75, 0x08, 0x95, 0x06, 0x15, 0x00, 0x25, 0x65,				\
	0x05, 0x07, 0x19, 0x00, 0x29, 0x65, 0x81, 0x00,				\
	0xC0

static const uint8_t slot_desc[] = {
	MOUSE_COLLECTION,
	KEYBOARD_COLLECTION,
	0x06, 0x00, 0xFF, 0x09, 0x01, 0xA1, 0x01,
	VENDOR_IN(RPT_STATE, 53),
	VENDOR_IN(0x44, 5),
	VENDOR_IN(RPT_STATUS, 1),
	VENDOR_IN(RPT_43, 14),
	VENDOR_IN(RPT_QUALITY, 12),
	VENDOR_IN(RPT_COMBINED, 45),
	VENDOR_OUT(0x80, 9),
	VENDOR_OUT(0x81, 7),
	VENDOR_OUT(0x82, 3),
	VENDOR_OUT(0x83, 9),
	VENDOR_OUT(0x84, 8),
	VENDOR_OUT(0x85, 3),
	VENDOR_OUT(0x86, 3),
	VENDOR_OUT(0x87, 63),
	VENDOR_OUT(0x88, 63),
	VENDOR_OUT(0x89, 63),
	VENDOR_FEAT(RPT_FEATURE_PASSTHROUGH, 0x01),
	VENDOR_FEAT(RPT_FEATURE_COMMAND, 0x01),
	0xC0,
};

static const uint8_t dock_desc[] = {
	0x06, 0x00, 0xFF, 0x09, 0x02, 0xA1, 0x01,
	VENDOR_IN(RPT_STATE, 53),
	VENDOR_IN(RPT_STATUS, 1),
	VENDOR_FEAT(RPT_FEATURE_PASSTHROUGH, 0x01),
	VENDOR_FEAT(RPT_FEATURE_COMMAND, 0x01),
	0xC0,
};

uint8_t hid_input_len(uint8_t id)
{
	switch (id) {
	case RPT_MOUSE:    return 5;
	case RPT_KEYBOARD: return 8;
	case RPT_STATE:    return 53;
	case RPT_43:       return 14;
	case RPT_44:       return 5;
	case RPT_COMBINED: return 45;
	case RPT_STATUS:   return 1;
	case RPT_QUALITY:  return 12;
	default:           return 0;
	}
}

const uint8_t *hid_desc_slot(size_t *len) { *len = sizeof(slot_desc); return slot_desc; }
const uint8_t *hid_desc_dock(size_t *len) { *len = sizeof(dock_desc); return dock_desc; }
```

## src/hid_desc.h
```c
/* hid_desc.h: HID report descriptors and report IDs. MIT licence. */
#pragma once
#include <stddef.h>
#include <stdint.h>

/* Input report IDs and the number of bytes after the ID. */
#define RPT_MOUSE    0x40
#define RPT_KEYBOARD 0x41
#define RPT_STATE    0x42
#define RPT_43       0x43
#define RPT_44       0x44
#define RPT_COMBINED 0x45
#define RPT_STATUS   0x79
#define RPT_QUALITY  0x7B
/* Feature report IDs. */
#define RPT_FEATURE_PASSTHROUGH 0x01
#define RPT_FEATURE_COMMAND     0x02
#define FEATURE_BODY_LEN        63   /* bytes after the ID */

/* Bytes after the ID of an input report, 0 for an ID that does not exist. */
uint8_t hid_input_len(uint8_t id);

/* Descriptor of a slot interface (mouse + keyboard + vendor collections) and of the dock. */
const uint8_t *hid_desc_slot(size_t *len);
const uint8_t *hid_desc_dock(size_t *len);
```

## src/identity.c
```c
/* identity.c: serial numbers and build identity. MIT licence. */
#include <stdio.h>
#include <string.h>
#include <zephyr/kernel.h>
#include <zephyr/drivers/hwinfo.h>
#include "identity.h"
#include "puck_config.h"

BUILD_ASSERT(sizeof(PUCK_SERIAL) == 14, "PUCK_SERIAL must be exactly 13 characters");
BUILD_ASSERT(sizeof(PUCK_BOARD_SERIAL) == 14, "PUCK_BOARD_SERIAL must be exactly 13 characters");
BUILD_ASSERT(sizeof(PUCK_GIT_REVISION) <= 16, "PUCK_GIT_REVISION must be at most 15 characters");

static char serial[14] = PUCK_SERIAL;
static char board_serial[14] = PUCK_BOARD_SERIAL;

void identity_init(void)
{
#if PUCK_SERIAL_FROM_CHIP
	uint8_t id[8] = { 0 };

	if (hwinfo_get_device_id(id, sizeof(id)) > 0) {
		snprintf(serial, sizeof(serial), "CPK%02X%02X%02X%02X%02X",
			 id[0], id[1], id[2], id[3], id[4]);
		snprintf(board_serial, sizeof(board_serial), "CPB%02X%02X%02X%02X%02X",
			 id[7], id[6], id[5], id[4], id[3]);
	}
#endif
}

const char *identity_serial(void) { return serial; }
const char *identity_board_serial(void) { return board_serial; }
const char *identity_revision(void) { return PUCK_GIT_REVISION; }
uint32_t identity_build_time(void) { return PUCK_BUILD_TIME; }
uint32_t identity_board_revision(void) { return PUCK_BOARD_REVISION; }
```

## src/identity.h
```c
/* identity.h: who this puck says it is. The values come from puck_config.h. MIT licence. */
#pragma once
#include <stdint.h>

void identity_init(void);
const char *identity_serial(void);        /* 13 characters, the USB serial number */
const char *identity_board_serial(void);  /* 13 characters */
const char *identity_revision(void);      /* short revision string */
uint32_t identity_build_time(void);
uint32_t identity_board_revision(void);
```
